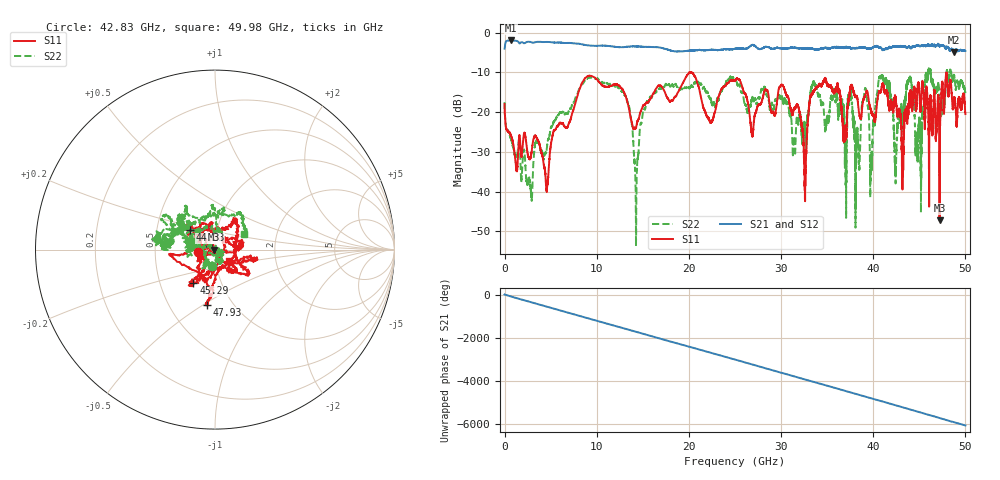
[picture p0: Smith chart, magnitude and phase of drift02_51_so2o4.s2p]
!Created with skrf (http://scikit-rf.org).
# Hz S RI R 50.0
!freq ReS11 ImS11 ReS21 ImS21 ReS12 ImS12 ReS22 ImS22
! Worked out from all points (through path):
!   10001 points, 300 kHz to 50 GHz, reference 50 ohm
!   highest |S21| = -1.99 dB at 645.3 MHz (marker M1); lowest = -4.9 dB at 48.77 GHz (marker M2)
!   group delay of S21, straight-line fit = 337 ps
!   lowest |S11| = -47.2 dB at 47.2 GHz (marker M3), VSWR 1.01, Z = 49.6 - j0.0339 ohm
!   |S11| at or under -10 dB: start of sweep to 20.06 GHz; 20.2081 GHz to 20.2164 GHz (8.294 MHz wide, 0.041 % of centre); 20.24 GHz to end of sweep (the widest 3 of 5)
!   |S22| runs from -53.7 to -9.0 dB; largest |S21 - S12| = 0.029
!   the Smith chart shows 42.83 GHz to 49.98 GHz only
!   S11 on the Smith chart (normalised r, x): 42.83 GHz: 0.82, -0.02; 44.03 GHz: 0.74, +0.16; 45.29 GHz: 0.74, -0.29; 47.93 GHz: 0.76, -0.52; 49.98 GHz: 1.16, -0.15
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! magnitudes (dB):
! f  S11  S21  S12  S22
! 300 kHz  -17.9  -4.0  -4.0  -17.5
! 645.3 MHz  -25.7  -2.0  -2.0  -26.4
! 4.565 GHz  -39.9  -2.4  -2.4  -29.4
! 8.335 GHz  -13.0  -2.9  -2.9  -13.2
! 13.01 GHz  -15.3  -3.6  -3.6  -15.7
! 14.28 GHz  -23.8  -3.5  -3.5  -48.6
! 16.67 GHz  -13.4  -3.7  -3.7  -14.5
! 25 GHz  -12.1  -4.1  -4.1  -12.1
! 26.86 GHz  -25.8  -3.1  -3.1  -16.5
! 30.18 GHz  -13.3  -4.1  -4.1  -16.7
! 32.58 GHz  -38.9  -3.9  -3.9  -24.7
! 33.34 GHz  -15.7  -4.0  -4.0  -13.7
! 38.28 GHz  -16.8  -4.0  -3.9  -24.1
! 41.67 GHz  -18.4  -3.8  -3.9  -12.6
! 42.83 GHz  -20.2  -3.5  -3.4  -20.9
! 44.03 GHz  -15.0  -3.9  -3.9  -11.3
! 45.29 GHz  -13.1  -3.2  -3.3  -21.9
! 47.2 GHz  -47.2  -3.5  -3.4  -16.1
! 47.93 GHz  -10.1  -4.0  -4.0  -10.6
! 48.77 GHz  -16.7  -4.9  -4.8  -10.6
! 49.98 GHz  -20.1  -4.6  -4.5  -14.7
! 50 GHz  -20.5  -4.6  -4.6  -15.2
